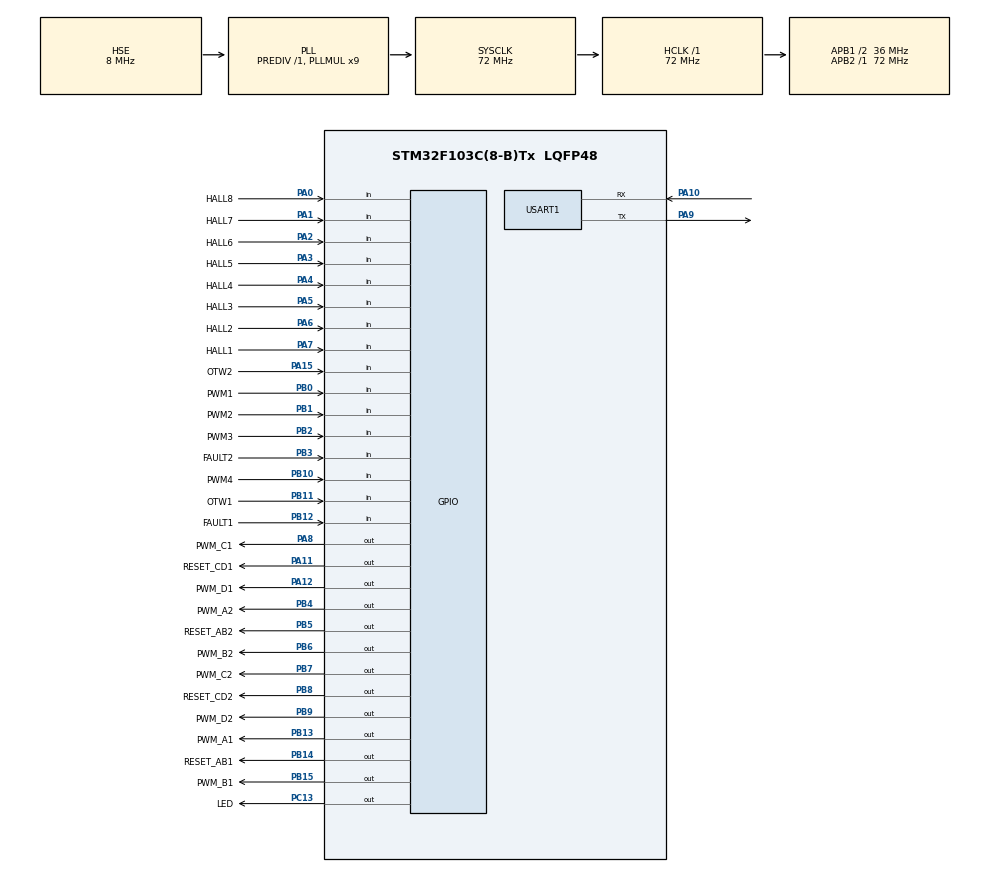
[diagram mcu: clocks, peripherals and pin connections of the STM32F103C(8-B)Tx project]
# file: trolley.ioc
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PA11.GPIO_Speed=GPIO_SPEED_FREQ_HIGH
Mcu.Family=STM32F1
PB14.GPIO_Label=RESET_AB1
VP_RTC_VS_RTC_Activate.Mode=RTC_Enabled
PA6.GPIO_Label=HALL2
PB0.GPIO_Label=PWM1
PB6.GPIO_Label=PWM_B2
PB13.GPIO_Label=PWM_A1
PB11.Signal=GPIO_Input
PB13.Signal=GPIO_Output
PB15.Signal=GPIO_Output
RCC.SYSCLKSource=RCC_SYSCLKSOURCE_PLLCLK
ProjectManager.StackSize=0x400
PD1-OSC_OUT.Signal=RCC_OSC_OUT
VP_RTC_No_RTC_Output.Mode=RTC_OUT_NO
PA15.GPIO_Label=OTW2
PA12.Signal=GPIO_Output
RCC.HCLKFreq_Value=72000000
RCC.APB2TimFreq_Value=72000000
TIM3.Period=1000
PB6.Signal=GPIO_Output
RCC.AHBFreq_Value=72000000
PB2.Signal=GPIO_Input
RCC.RTCClockSelection=RCC_RTCCLKSOURCE_HSE_DIV128
RCC.PLLMUL=RCC_PLL_MUL9
PB12.GPIO_Label=FAULT1
PA14.Mode=Serial_Wire
TIM3.Prescaler=720
PB1.GPIO_Label=PWM2
NVIC.TIM2_IRQn=true\:0\:0\:false\:false\:true\:true\:true
PB7.Signal=GPIO_Output
PA8.Signal=GPIO_Output
TIM4.Period=200
PC13-TAMPER-RTC.GPIO_Speed=GPIO_SPEED_FREQ_HIGH
PB7.GPIO_Label=PWM_C2
Mcu.Package=LQFP48
PB9.Signal=GPIO_Output
TIM2.Prescaler=720
PB1.Signal=GPIO_Input
PA6.Signal=GPIO_Input
PA2.GPIO_Label=HALL6
PA10.Signal=USART1_RX
PA15.Signal=GPIO_Input
PB5.GPIO_Speed=GPIO_SPEED_FREQ_HIGH
PB9.GPIO_Speed=GPIO_SPEED_FREQ_HIGH
PB5.GPIO_Label=RESET_AB2
RCC.APB1TimFreq_Value=72000000
NVIC.USART1_IRQn=true\:0\:0\:false\:false\:true\:true\:true
PA4.GPIO_Label=HALL4
PA8.GPIO_Speed=GPIO_SPEED_FREQ_HIGH
VP_TIM3_VS_ClockSourceINT.Mode=Internal
PA12.GPIO_Speed=GPIO_SPEED_FREQ_HIGH
PB4.Signal=GPIO_Output
PA3.Signal=GPIO_Input
PB7.GPIO_Speed=GPIO_SPEED_FREQ_HIGH
PB3.GPIO_Label=FAULT2
RCC.PLLSourceVirtual=RCC_PLLSOURCE_HSE
PD1-OSC_OUT.Mode=HSE-External-Oscillator
PB9.GPIO_Label=PWM_D2
PA10.Mode=Asynchronous
PB11.GPIO_Label=OTW1
PC13-TAMPER-RTC.Signal=GPIO_Output
PA11.GPIO_Label=RESET_CD1
PD0-OSC_IN.Signal=RCC_OSC_IN
RCC.APB1CLKDivider=RCC_HCLK_DIV2
PA12.GPIO_Label=PWM_D1
PA0-WKUP.GPIO_Label=HALL8
PA0-WKUP.Signal=GPIO_Input
PA13.Signal=SYS_JTMS-SWDIO
PB8.GPIO_Label=RESET_CD2
PA9.Mode=Asynchronous
PA8.GPIO_Label=PWM_C1
ProjectManager.TargetToolchain=STM32CubeIDE
PB14.GPIO_Speed=GPIO_SPEED_FREQ_HIGH
PB10.GPIO_Label=PWM4
PA9.Signal=USART1_TX
PB13.GPIO_Speed=GPIO_SPEED_FREQ_HIGH
RCC.USBFreq_Value=72000000
TIM4.Prescaler=72
PA1.Signal=GPIO_Input
PD0-OSC_IN.Mode=HSE-External-Oscillator
PB10.Signal=GPIO_Input
PB14.Signal=GPIO_Output
PA5.Signal=GPIO_Input
board=custom
PC13-TAMPER-RTC.GPIO_Label=LED
NVIC.TIM3_IRQn=true\:0\:0\:false\:false\:true\:true\:true
PB4.GPIO_Speed=GPIO_SPEED_FREQ_HIGH
RCC.APB2Freq_Value=72000000
PB4.GPIO_Label=PWM_A2
PB15.GPIO_Label=PWM_B1
VP_TIM2_VS_ClockSourceINT.Mode=Internal
PB15.GPIO_Speed=GPIO_SPEED_FREQ_HIGH
PA1.GPIO_Label=HALL7
TIM2.Period=10
PA13.Mode=Serial_Wire
Mcu.Name=STM32F103C(8-B)Tx
PA2.Signal=GPIO_Input
PB3.Signal=GPIO_Input
PA4.Signal=GPIO_Input
RCC.SYSCLKFreq_VALUE=72000000
PB5.Signal=GPIO_Output
PC13-TAMPER-RTC.GPIO_ModeDefaultOutputPP=GPIO_MODE_OUTPUT_OD
PA7.GPIO_Label=HALL1
PA5.GPIO_Label=HALL3
USART1.VirtualMode=VM_ASYNC
PA11.Signal=GPIO_Output
PA14.Signal=SYS_JTCK-SWCLK
PB2.GPIO_Label=PWM3
ProjectManager.HeapSize=0x200
VP_TIM4_VS_ClockSourceINT.Mode=Internal
NVIC.PriorityGroup=NVIC_PRIORITYGROUP_4
PB8.Signal=GPIO_Output
PB6.GPIO_Speed=GPIO_SPEED_FREQ_HIGH
NVIC.TIM4_IRQn=true\:0\:0\:false\:false\:true\:true\:true
RCC.APB1Freq_Value=36000000
PB8.GPIO_Speed=GPIO_SPEED_FREQ_HIGH
PB0.Signal=GPIO_Input
PB12.Signal=GPIO_Input
PA3.GPIO_Label=HALL5
PA7.Signal=GPIO_Input

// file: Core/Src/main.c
/* USER CODE BEGIN Header */
/**
  ******************************************************************************
  * @file           : main.c
  * @brief          : Main program body
  ******************************************************************************
  * @attention
  *
  * <h2><center>&copy; Copyright (c) 2020 STMicroelectronics.
  * All rights reserved.</center></h2>
  *
  * This software component is licensed by ST under BSD 3-Clause license,
  * the "License"; You may not use this file except in compliance with the
  * License. You may obtain a copy of the License at:
  *                        opensource.org/licenses/BSD-3-Clause
  *
  ******************************************************************************
  */
/* USER CODE END Header */
#include "main.h"

RTC_HandleTypeDef hrtc;

TIM_HandleTypeDef htim2;
TIM_HandleTypeDef htim3;
TIM_HandleTypeDef htim4;

UART_HandleTypeDef huart1;

void SystemClock_Config(void);
static void MX_GPIO_Init(void);
static void MX_RTC_Init(void);
static void MX_TIM4_Init(void);
static void MX_USART1_UART_Init(void);
static void MX_TIM3_Init(void);
static void MX_TIM2_Init(void);

/* USER CODE BEGIN 0 */

int step_old[4];
int speed[4];
int pwm[4];
int step[4];
int status[4];

int setspeed[4];

int hall[8];
int hall_old[8];
int hall_tmp[8][hall_bufsize];
int hall_cnt;

extern int servo[4];
extern int servo_tmp[4];
extern int servo_old[4];

uint16_t hall_pin[8]  = {
  HALL1_Pin,
  HALL2_Pin,
  HALL3_Pin,
  HALL4_Pin,
  HALL5_Pin,
  HALL6_Pin,
  HALL7_Pin,
  HALL8_Pin
};

GPIO_TypeDef *hall_port[8] = {
  HALL1_GPIO_Port,
  HALL2_GPIO_Port,
  HALL3_GPIO_Port,
  HALL4_GPIO_Port,
  HALL5_GPIO_Port,
  HALL6_GPIO_Port,
  HALL7_GPIO_Port,
  HALL8_GPIO_Port,
};

uint16_t pwm_pin[8] = {
  PWM_A1_Pin,
  PWM_B1_Pin,
  PWM_C1_Pin,
  PWM_D1_Pin,
  PWM_A2_Pin,
  PWM_B2_Pin,
  PWM_C2_Pin,
  PWM_D2_Pin
};

GPIO_TypeDef *pwm_port[8] = {
  PWM_A1_GPIO_Port,
  PWM_B1_GPIO_Port,
  PWM_C1_GPIO_Port,
  PWM_D1_GPIO_Port,
  PWM_A2_GPIO_Port,
  PWM_B2_GPIO_Port,
  PWM_C2_GPIO_Port,
  PWM_D2_GPIO_Port,
};

uint16_t servo_pin[4] = {
  PWM1_Pin,
  PWM2_Pin,
  PWM3_Pin,
  PWM4_Pin,
};

GPIO_TypeDef *servo_port[4] = {
  PWM1_GPIO_Port,
  PWM2_GPIO_Port,
  PWM3_GPIO_Port,
  PWM4_GPIO_Port,
};

int us_per_timer1;
int dir[4] = {1, 1, 1, 1};
int counter_control;

/* USER CODE END 0 */

int main(void)
{

  /* MCU Configuration--------------------------------------------------------*/

  /* Reset of all peripherals, Initializes the Flash interface and the Systick. */
  HAL_Init();

  /* Configure the system clock */
  SystemClock_Config();

  /* Initialize all configured peripherals */
  MX_GPIO_Init();
  MX_RTC_Init();
  MX_TIM4_Init();
  MX_USART1_UART_Init();
  MX_TIM3_Init();
  MX_TIM2_Init();
  /* USER CODE BEGIN 2 */

  //us_per_timer1 = 1000000 / (7200000000 / htim1.Init.Prescaler / htim1.Init.Period);

  /* USER CODE END 2 */

  /* Infinite loop */
  while (1)
  {

  }
}

void SystemClock_Config(void)
{
  RCC_OscInitTypeDef RCC_OscInitStruct = {0};
  RCC_ClkInitTypeDef RCC_ClkInitStruct = {0};
  RCC_PeriphCLKInitTypeDef PeriphClkInit = {0};

  /** Initializes the RCC Oscillators according to the specified parameters
  * in the RCC_OscInitTypeDef structure.
  */
  RCC_OscInitStruct.OscillatorType = RCC_OSCILLATORTYPE_HSE;
  RCC_OscInitStruct.HSEState = RCC_HSE_ON;
  RCC_OscInitStruct.HSEPredivValue = RCC_HSE_PREDIV_DIV1;
  RCC_OscInitStruct.HSIState = RCC_HSI_ON;
  RCC_OscInitStruct.PLL.PLLState = RCC_PLL_ON;
  RCC_OscInitStruct.PLL.PLLSource = RCC_PLLSOURCE_HSE;
  RCC_OscInitStruct.PLL.PLLMUL = RCC_PLL_MUL9;
  if (HAL_RCC_OscConfig(&RCC_OscInitStruct) != HAL_OK)
  {
    Error_Handler();
  }
  /** Initializes the CPU, AHB and APB buses clocks
  */
  RCC_ClkInitStruct.ClockType = RCC_CLOCKTYPE_HCLK|RCC_CLOCKTYPE_SYSCLK
                              |RCC_CLOCKTYPE_PCLK1|RCC_CLOCKTYPE_PCLK2;
  RCC_ClkInitStruct.SYSCLKSource = RCC_SYSCLKSOURCE_PLLCLK;
  RCC_ClkInitStruct.AHBCLKDivider = RCC_SYSCLK_DIV1;
  RCC_ClkInitStruct.APB1CLKDivider = RCC_HCLK_DIV2;
  RCC_ClkInitStruct.APB2CLKDivider = RCC_HCLK_DIV1;

  if (HAL_RCC_ClockConfig(&RCC_ClkInitStruct, FLASH_LATENCY_2) != HAL_OK)
  {
    Error_Handler();
  }
  PeriphClkInit.PeriphClockSelection = RCC_PERIPHCLK_RTC;
  PeriphClkInit.RTCClockSelection = RCC_RTCCLKSOURCE_HSE_DIV128;
  if (HAL_RCCEx_PeriphCLKConfig(&PeriphClkInit) != HAL_OK)
  {
    Error_Handler();
  }
}

static void MX_RTC_Init(void)
{

  RTC_TimeTypeDef sTime = {0};
  RTC_DateTypeDef DateToUpdate = {0};

  /** Initialize RTC Only
  */
  hrtc.Instance = RTC;
  hrtc.Init.AsynchPrediv = RTC_AUTO_1_SECOND;
  hrtc.Init.OutPut = RTC_OUTPUTSOURCE_NONE;
  if (HAL_RTC_Init(&hrtc) != HAL_OK)
  {
    Error_Handler();
  }

  /** Initialize RTC and set the Time and Date
  */
  sTime.Hours = 0x0;
  sTime.Minutes = 0x0;
  sTime.Seconds = 0x0;

  if (HAL_RTC_SetTime(&hrtc, &sTime, RTC_FORMAT_BCD) != HAL_OK)
  {
    Error_Handler();
  }
  DateToUpdate.WeekDay = RTC_WEEKDAY_MONDAY;
  DateToUpdate.Month = RTC_MONTH_JANUARY;
  DateToUpdate.Date = 0x1;
  DateToUpdate.Year = 0x0;

  if (HAL_RTC_SetDate(&hrtc, &DateToUpdate, RTC_FORMAT_BCD) != HAL_OK)
  {
    Error_Handler();
  }

}

static void MX_TIM2_Init(void)
{

  TIM_ClockConfigTypeDef sClockSourceConfig = {0};
  TIM_MasterConfigTypeDef sMasterConfig = {0};

  htim2.Instance = TIM2;
  htim2.Init.Prescaler = 720;
  htim2.Init.CounterMode = TIM_COUNTERMODE_UP;
  htim2.Init.Period = 10;
  htim2.Init.ClockDivision = TIM_CLOCKDIVISION_DIV1;
  htim2.Init.AutoReloadPreload = TIM_AUTORELOAD_PRELOAD_DISABLE;
  if (HAL_TIM_Base_Init(&htim2) != HAL_OK)
  {
    Error_Handler();
  }
  sClockSourceConfig.ClockSource = TIM_CLOCKSOURCE_INTERNAL;
  if (HAL_TIM_ConfigClockSource(&htim2, &sClockSourceConfig) != HAL_OK)
  {
    Error_Handler();
  }
  sMasterConfig.MasterOutputTrigger = TIM_TRGO_RESET;
  sMasterConfig.MasterSlaveMode = TIM_MASTERSLAVEMODE_DISABLE;
  if (HAL_TIMEx_MasterConfigSynchronization(&htim2, &sMasterConfig) != HAL_OK)
  {
    Error_Handler();
  }

}

static void MX_TIM3_Init(void)
{

  TIM_ClockConfigTypeDef sClockSourceConfig = {0};
  TIM_MasterConfigTypeDef sMasterConfig = {0};

  htim3.Instance = TIM3;
  htim3.Init.Prescaler = 720;
  htim3.Init.CounterMode = TIM_COUNTERMODE_UP;
  htim3.Init.Period = 1000;
  htim3.Init.ClockDivision = TIM_CLOCKDIVISION_DIV1;
  htim3.Init.AutoReloadPreload = TIM_AUTORELOAD_PRELOAD_DISABLE;
  if (HAL_TIM_Base_Init(&htim3) != HAL_OK)
  {
    Error_Handler();
  }
  sClockSourceConfig.ClockSource = TIM_CLOCKSOURCE_INTERNAL;
  if (HAL_TIM_ConfigClockSource(&htim3, &sClockSourceConfig) != HAL_OK)
  {
    Error_Handler();
  }
  sMasterConfig.MasterOutputTrigger = TIM_TRGO_RESET;
  sMasterConfig.MasterSlaveMode = TIM_MASTERSLAVEMODE_DISABLE;
  if (HAL_TIMEx_MasterConfigSynchronization(&htim3, &sMasterConfig) != HAL_OK)
  {
    Error_Handler();
  }

}

static void MX_TIM4_Init(void)
{

  TIM_ClockConfigTypeDef sClockSourceConfig = {0};
  TIM_MasterConfigTypeDef sMasterConfig = {0};

  htim4.Instance = TIM4;
  htim4.Init.Prescaler = 72;
  htim4.Init.CounterMode = TIM_COUNTERMODE_UP;
  htim4.Init.Period = 200;
  htim4.Init.ClockDivision = TIM_CLOCKDIVISION_DIV1;
  htim4.Init.AutoReloadPreload = TIM_AUTORELOAD_PRELOAD_DISABLE;
  if (HAL_TIM_Base_Init(&htim4) != HAL_OK)
  {
    Error_Handler();
  }
  sClockSourceConfig.ClockSource = TIM_CLOCKSOURCE_INTERNAL;
  if (HAL_TIM_ConfigClockSource(&htim4, &sClockSourceConfig) != HAL_OK)
  {
    Error_Handler();
  }
  sMasterConfig.MasterOutputTrigger = TIM_TRGO_RESET;
  sMasterConfig.MasterSlaveMode = TIM_MASTERSLAVEMODE_DISABLE;
  if (HAL_TIMEx_MasterConfigSynchronization(&htim4, &sMasterConfig) != HAL_OK)
  {
    Error_Handler();
  }

}

static void MX_USART1_UART_Init(void)
{

  huart1.Instance = USART1;
  huart1.Init.BaudRate = 115200;
  huart1.Init.WordLength = UART_WORDLENGTH_8B;
  huart1.Init.StopBits = UART_STOPBITS_1;
  huart1.Init.Parity = UART_PARITY_NONE;
  huart1.Init.Mode = UART_MODE_TX_RX;
  huart1.Init.HwFlowCtl = UART_HWCONTROL_NONE;
  huart1.Init.OverSampling = UART_OVERSAMPLING_16;
  if (HAL_UART_Init(&huart1) != HAL_OK)
  {
    Error_Handler();
  }

}

static void MX_GPIO_Init(void)
{
  GPIO_InitTypeDef GPIO_InitStruct = {0};

  /* GPIO Ports Clock Enable */
  __HAL_RCC_GPIOC_CLK_ENABLE();
  __HAL_RCC_GPIOD_CLK_ENABLE();
  __HAL_RCC_GPIOA_CLK_ENABLE();
  __HAL_RCC_GPIOB_CLK_ENABLE();

  /*Configure GPIO pin Output Level */
  HAL_GPIO_WritePin(LED_GPIO_Port, LED_Pin, GPIO_PIN_RESET);

  /*Configure GPIO pin Output Level */
  HAL_GPIO_WritePin(GPIOB, PWM_A1_Pin|RESET_AB1_Pin|PWM_B1_Pin|PWM_A2_Pin
                          |RESET_AB2_Pin|PWM_B2_Pin|PWM_C2_Pin|RESET_CD2_Pin
                          |PWM_D2_Pin, GPIO_PIN_RESET);

  /*Configure GPIO pin Output Level */
  HAL_GPIO_WritePin(GPIOA, PWM_C1_Pin|RESET_CD1_Pin|PWM_D1_Pin, GPIO_PIN_RESET);

  /*Configure GPIO pin : LED_Pin */
  GPIO_InitStruct.Pin = LED_Pin;
  GPIO_InitStruct.Mode = GPIO_MODE_OUTPUT_OD;
  GPIO_InitStruct.Pull = GPIO_NOPULL;
  GPIO_InitStruct.Speed = GPIO_SPEED_FREQ_HIGH;
  HAL_GPIO_Init(LED_GPIO_Port, &GPIO_InitStruct);

  /*Configure GPIO pins : HALL8_Pin HALL7_Pin HALL6_Pin HALL5_Pin
                           HALL4_Pin HALL3_Pin HALL2_Pin HALL1_Pin
                           OTW2_Pin */
  GPIO_InitStruct.Pin = HALL8_Pin|HALL7_Pin|HALL6_Pin|HALL5_Pin
                          |HALL4_Pin|HALL3_Pin|HALL2_Pin|HALL1_Pin
                          |OTW2_Pin;
  GPIO_InitStruct.Mode = GPIO_MODE_INPUT;
  GPIO_InitStruct.Pull = GPIO_NOPULL;
  HAL_GPIO_Init(GPIOA, &GPIO_InitStruct);

  /*Configure GPIO pins : PWM1_Pin PWM2_Pin PWM3_Pin PWM4_Pin
                           OTW1_Pin FAULT1_Pin FAULT2_Pin */
  GPIO_InitStruct.Pin = PWM1_Pin|PWM2_Pin|PWM3_Pin|PWM4_Pin
                          |OTW1_Pin|FAULT1_Pin|FAULT2_Pin;
  GPIO_InitStruct.Mode = GPIO_MODE_INPUT;
  GPIO_InitStruct.Pull = GPIO_NOPULL;
  HAL_GPIO_Init(GPIOB, &GPIO_InitStruct);

  /*Configure GPIO pins : PWM_A1_Pin RESET_AB1_Pin PWM_B1_Pin PWM_A2_Pin
                           RESET_AB2_Pin PWM_B2_Pin PWM_C2_Pin RESET_CD2_Pin
                           PWM_D2_Pin */
  GPIO_InitStruct.Pin = PWM_A1_Pin|RESET_AB1_Pin|PWM_B1_Pin|PWM_A2_Pin
                          |RESET_AB2_Pin|PWM_B2_Pin|PWM_C2_Pin|RESET_CD2_Pin
                          |PWM_D2_Pin;
  GPIO_InitStruct.Mode = GPIO_MODE_OUTPUT_PP;
  GPIO_InitStruct.Pull = GPIO_NOPULL;
  GPIO_InitStruct.Speed = GPIO_SPEED_FREQ_HIGH;
  HAL_GPIO_Init(GPIOB, &GPIO_InitStruct);

  /*Configure GPIO pins : PWM_C1_Pin RESET_CD1_Pin PWM_D1_Pin */
  GPIO_InitStruct.Pin = PWM_C1_Pin|RESET_CD1_Pin|PWM_D1_Pin;
  GPIO_InitStruct.Mode = GPIO_MODE_OUTPUT_PP;
  GPIO_InitStruct.Pull = GPIO_NOPULL;
  GPIO_InitStruct.Speed = GPIO_SPEED_FREQ_HIGH;
  HAL_GPIO_Init(GPIOA, &GPIO_InitStruct);

}

void Error_Handler(void)
{
  __disable_irq();
  while (1)
  {
  }
}

/************************ (C) COPYRIGHT STMicroelectronics *****END OF FILE****/
